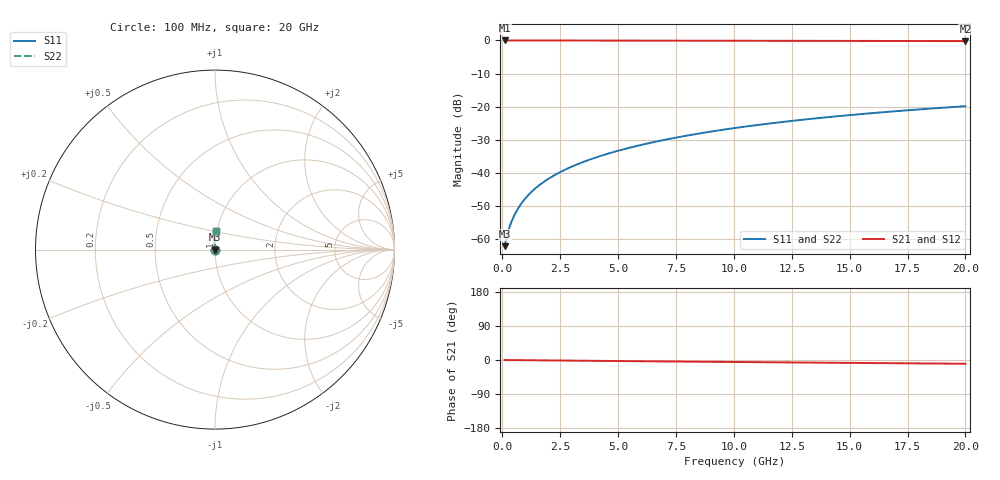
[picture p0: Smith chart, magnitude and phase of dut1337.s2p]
! Touchstone file exported from HFSS 2024.1.0
!  File:  C:/UserFiles/LocalFiles/RDL_TSV_Batchsim/temp_RDL_bottom_1337_1780369638.aedt
!  Generated:  11:10:01 AM Jun  2, 2026
!  Design:  RDL_bottom
!  Project:  temp_RDL_bottom_1337_1780369638
!  Setup:  Setup1
!  Solution:  Sweep
! Variables:
!  dtsv = 10.80580581um
!  hbump = 3um
!  htsv = 58.09um
!  ldown = 124.44um
!  lrdl = 100um
!  p = 40
!  p1 = 47.47um
!  rhole = 1um
!  t = 450um
!  tdown = 4um
!  trdl = 3.915915916um
!  wdown = 26.59um
!  wrdl = 20um
# GHz S MA R 50.000000
! Terminal data exported
! Port[1] = RDL1_T1
! Port[2] = RDL1_T2
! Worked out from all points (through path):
!   200 points, 100 MHz to 20 GHz, reference 50 ohm
!   highest |S21| = -0.01 dB at 100 MHz (marker M1); lowest = -0.2 dB at 20 GHz (marker M2)
!   group delay of S21, straight-line fit = 1.35 ps
!   lowest |S11| = -62.1 dB at 100 MHz (marker M3), VSWR 1.00, Z = 50.1 + j0.046 ohm
!   |S11| at or under -10 dB: start of sweep to end of sweep
!   |S22| runs from -62.1 to -19.9 dB; largest |S21 - S12| = 3.1e-15
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0.1  0.0007808 36.1  0.9994 -0.1  0.9994 -0.1  0.0007808 36.1
! Gamma 0 0 0 0
! Port Impedance 50 0 50 0
0.2  0.001114 53.1  0.9993 -0.1  0.9993 -0.1  0.001114 53.1
0.3  0.001474 61.6  0.9993 -0.2  0.9993 -0.2  0.001474 61.6
0.4  0.00184 67.0  0.9992 -0.2  0.9992 -0.2  0.00184 67.0
0.5  0.00221 70.8  0.9992 -0.3  0.9992 -0.3  0.00221 70.8
0.6  0.002586 73.7  0.9991 -0.4  0.9991 -0.4  0.002586 73.7
0.8  0.003351 77.7  0.9991 -0.5  0.9991 -0.5  0.003351 77.7
1.1  0.004525 81.6  0.9989 -0.6  0.9989 -0.6  0.004525 81.6
1.3  0.00532 83.3  0.9988 -0.8  0.9988 -0.8  0.00532 83.3
1.6  0.00653 85.3  0.9987 -0.9  0.9987 -0.9  0.00653 85.3
2.1  0.008586 87.6  0.9983 -1.2  0.9983 -1.2  0.008586 87.6
2.7  0.01112 89.4  0.9977 -1.6  0.9977 -1.6  0.01112 89.4
3.5  0.01462 91.1  0.9968 -2.0  0.9968 -2.0  0.01462 91.1
4.2  0.0178 92.1  0.996 -2.4  0.996 -2.4  0.0178 92.1
5  0.02156 92.8  0.9949 -2.8  0.9949 -2.8  0.02156 92.8
5.9  0.02595 93.2  0.9936 -3.3  0.9936 -3.3  0.02595 93.2
6.8  0.03047 93.4  0.9924 -3.7  0.9924 -3.7  0.03047 93.4
8.4  0.03878 93.2  0.9902 -4.5  0.9902 -4.5  0.03878 93.2
10.1  0.04786 92.5  0.988 -5.3  0.988 -5.3  0.04786 92.5
13.4  0.0658 90.5  0.9843 -6.9  0.9843 -6.9  0.0658 90.5
16.7  0.08379 88.3  0.981 -8.4  0.981 -8.4  0.08379 88.3
20  0.1016 86.1  0.9778 -9.9  0.9778 -9.9  0.1016 86.2
